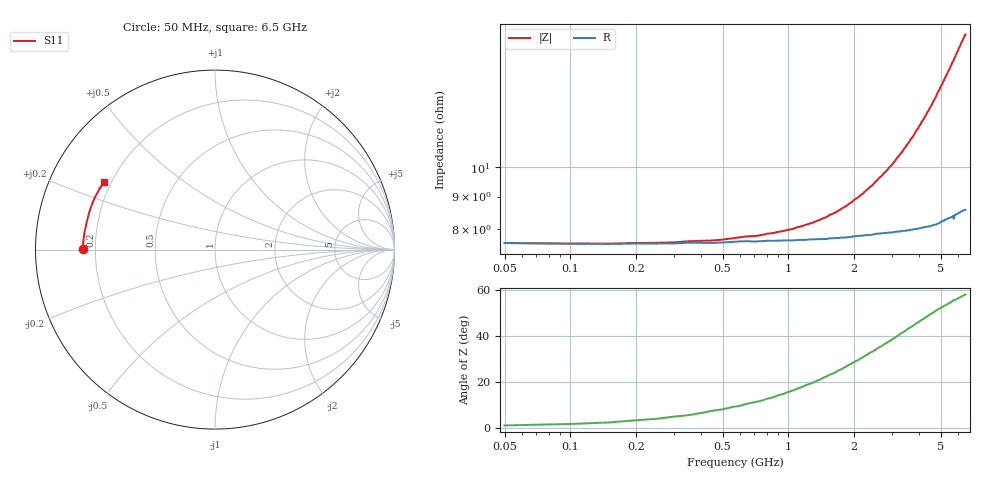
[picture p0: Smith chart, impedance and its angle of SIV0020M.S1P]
! (c) 1999  Infineon Technologies AG, Munich
! Infineon Technologies  Discrete & RF Semiconductors
! BAT24-02LS
! Si Schottky Diode in TSSLP-2
! IF = 20 mA
! S-Parameters:  July  2007
# GHz  S  MA  R  50
!  f  S11
! GHz  MAG  ANG
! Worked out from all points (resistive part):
!   130 points, 50 MHz to 6.5 GHz, reference 50 ohm
!   read as one part to ground: R = 7.61 ohm at 50 MHz
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0.05  0.7359 179.6
0.15  0.7367 179.2
0.3  0.7363 178.4
0.9  0.7343 175.4
1.2  0.7339 173.9
1.3  0.7335 173.5
1.55  0.7329 172.2
1.65  0.7329 171.8
1.7  0.7329 171.5
2.5  0.7311 167.6
2.85  0.7307 166.0
2.9  0.7306 165.7
3  0.7307 165.3
3.3  0.7305 163.8
3.5  0.7303 162.8
3.75  0.7303 161.7
3.85  0.7304 161.1
3.95  0.7301 160.7
4.1  0.7299 159.9
4.2  0.7299 159.5
4.45  0.7303 158.2
4.55  0.7299 157.8
4.9  0.7294 156.0
5.7  0.7266 152.2
5.75  0.7293 151.9
5.8  0.7264 151.7
5.9  0.726 151.2
6.5  0.7252 148.5
